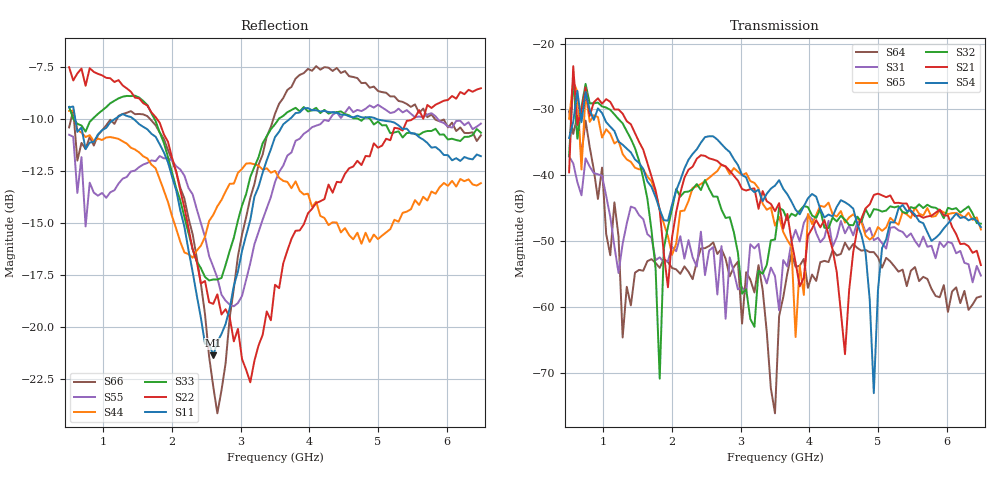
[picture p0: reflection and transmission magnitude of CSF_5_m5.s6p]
!Keysight Technologies,M9804A,MY58100912,A.14.10.03
!Date: Thursday, April 27, 2023 10:28:33
!Correction: S11(C  6-Port  )
!S12(C  6-Port  )
!S13(C  6-Port  )
!S14(C  6-Port  )
!S15(C  6-Port  )
!S16(C  6-Port  )
!S21(C  6-Port  )
!S22(C  6-Port  )
!S23(C  6-Port  )
!S24(C  6-Port  )
!S25(C  6-Port  )
!S26(C  6-Port  )
!S31(C  6-Port  )
!S32(C  6-Port  )
!S33(C  6-Port  )
!S34(C  6-Port  )
!S35(C  6-Port  )
!S36(C  6-Port  )
!S41(C  6-Port  )
!S42(C  6-Port  )
!S43(C  6-Port  )
!S44(C  6-Port  )
!S45(C  6-Port  )
!S46(C  6-Port  )
!S51(C  6-Port  )
!S52(C  6-Port  )
!S53(C  6-Port  )
!S54(C  6-Port  )
!S55(C  6-Port  )
!S56(C  6-Port  )
!S61(C  6-Port  )
!S62(C  6-Port  )
!S63(C  6-Port  )
!S64(C  6-Port  )
!S65(C  6-Port  )
!S66(C  6-Port  )
!S6P File: Measurement: :
# Hz S  RI  R 50
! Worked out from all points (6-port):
!   101 points, 500 MHz to 6.5 GHz, reference 50 ohm
!   strongest paths, dB at 500 MHz, 2 GHz, 3.5 GHz, 5 GHz, 6.5 GHz:
!     S54: -34.3, -44.4, -41.5, -57.4, -47.8
!     S21: -39.5, -49.4, -45.4, -42.8, -53.6
!     S32: -37.0, -45.1, -49.7, -45.2, -47.3
!     S65: -31.4, -52.0, -47.6, -47.8, -48.2
!     S31: -37.1, -50.8, -55.3, -49.5, -55.2
!     S64: -30.3, -54.0, -76.1, -52.4, -58.3
!   lowest |S11| = -21.4 dB at 2.6 GHz (marker M1), VSWR 1.19, Z = 42.4 + j2.21 ohm
!   |S11| at or under -10 dB: 589.5 MHz to 1.166 GHz (576.8 MHz wide, 65.7 % of centre); 1.438 GHz to 3.714 GHz (2.277 GHz wide, 88.4 % of centre); 4.98 GHz to end of sweep
